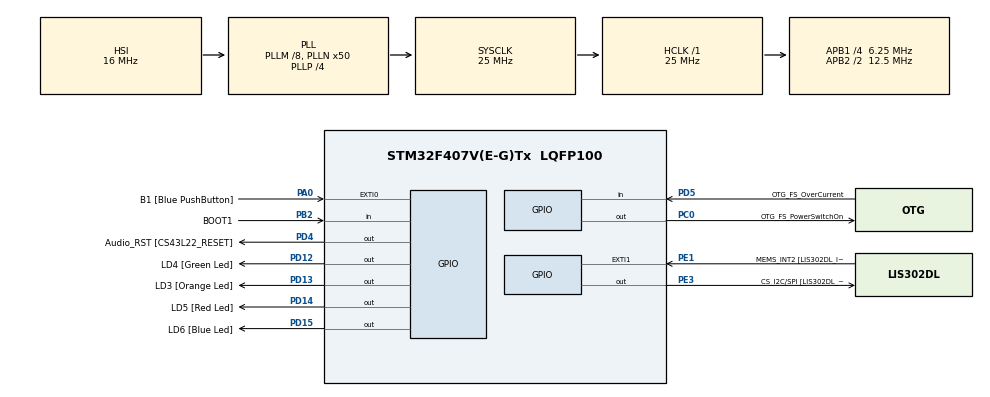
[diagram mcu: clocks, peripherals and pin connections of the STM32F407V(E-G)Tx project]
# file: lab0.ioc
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Mcu.Family=STM32F4
Mcu.Name=STM32F407V(E-G)Tx
Mcu.Package=LQFP100
NVIC.PriorityGroup=NVIC_PRIORITYGROUP_4
NVIC.TIM7_IRQn=true\:0\:0\:false\:false\:true\:false\:true\:true
NVIC.TimeBase=TIM7_IRQn
NVIC.TimeBaseIP=TIM7
PA0-WKUP.GPIO_Label=B1 [Blue PushButton]
PA0-WKUP.Signal=GPXTI0
PA10.GPIO_Label=OTG_FS_ID
PA10.GPIO_Mode=GPIO_MODE_AF_PP
PA10.GPIO_PuPd=GPIO_NOPULL
PA10.GPIO_Speed=GPIO_SPEED_FREQ_LOW
PA10.Signal=USB_OTG_FS_ID
PA11.GPIO_Label=OTG_FS_DM
PA11.GPIO_Mode=GPIO_MODE_AF_PP
PA11.GPIO_PuPd=GPIO_NOPULL
PA11.GPIO_Speed=GPIO_SPEED_FREQ_LOW
PA11.Signal=USB_OTG_FS_DM
PA12.GPIO_Label=OTG_FS_DP
PA12.GPIO_Mode=GPIO_MODE_AF_PP
PA12.GPIO_PuPd=GPIO_NOPULL
PA12.GPIO_Speed=GPIO_SPEED_FREQ_LOW
PA12.Signal=USB_OTG_FS_DP
PA13.GPIO_Label=SWDIO
PA13.Mode=Serial_Wire
PA13.Signal=SYS_JTMS-SWDIO
PA14.GPIO_Label=SWCLK
PA14.Mode=Serial_Wire
PA14.Signal=SYS_JTCK-SWCLK
PA4.GPIO_Label=I2S3_WS [CS43L22_LRCK]
PA4.GPIO_Mode=GPIO_MODE_AF_PP
PA4.GPIO_PuPd=GPIO_NOPULL
PA4.GPIO_Speed=GPIO_SPEED_FREQ_LOW
PA4.Signal=I2S3_WS
PA5.GPIO_Label=SPI1_SCK [LIS302DL_SCL/SPC]
PA5.GPIO_Mode=GPIO_MODE_AF_PP
PA5.GPIO_PuPd=GPIO_NOPULL
PA5.GPIO_Speed=GPIO_SPEED_FREQ_LOW
PA5.Signal=SPI1_SCK
PA6.GPIO_Label=SPI1_MISO [LIS302DL_SDO]
PA6.GPIO_Mode=GPIO_MODE_AF_PP
PA6.GPIO_PuPd=GPIO_NOPULL
PA6.GPIO_Speed=GPIO_SPEED_FREQ_LOW
PA6.Signal=SPI1_MISO
PA7.GPIO_Label=SPI1_MOSI [LIS302DL_SDA/SDI/SDO]
PA7.GPIO_Mode=GPIO_MODE_AF_PP
PA7.GPIO_PuPd=GPIO_NOPULL
PA7.GPIO_Speed=GPIO_SPEED_FREQ_LOW
PA7.Signal=SPI1_MOSI
PA9.GPIO_Label=VBUS_FS
PA9.GPIO_Mode=GPIO_MODE_INPUT
PA9.GPIO_PuPd=GPIO_NOPULL
PA9.Signal=USB_OTG_FS_VBUS
PB10.GPIO_Label=CLK_IN [MP45DT02_CLK]
PB10.GPIO_Mode=GPIO_MODE_AF_PP
PB10.GPIO_PuPd=GPIO_NOPULL
PB10.GPIO_Speed=GPIO_SPEED_FREQ_LOW
PB10.Signal=I2S2_CK
PB2.GPIO_Label=BOOT1
PB2.GPIO_Mode=GPIO_MODE_INPUT
PB2.GPIO_PuPd=GPIO_NOPULL
PB2.Signal=GPIO_Input
PB3.GPIO_Label=SWO
PB3.Signal=SYS_JTDO-SWO
PB6.GPIO_Label=Audio_SCL [CS43L22_SCL]
PB6.GPIO_Mode=GPIO_MODE_AF_OD
PB6.GPIO_PuPd=GPIO_NOPULL
PB6.GPIO_Speed=GPIO_SPEED_FREQ_LOW
PB6.Signal=I2C1_SCL
PB9.GPIO_Label=Audio_SDA [CS43L22_SDA]
PB9.GPIO_Mode=GPIO_MODE_AF_OD
PB9.GPIO_PuPd=GPIO_NOPULL
PB9.GPIO_Speed=GPIO_SPEED_FREQ_LOW
PB9.Signal=I2C1_SDA
PC0.GPIO_Label=OTG_FS_PowerSwitchOn
PC0.GPIO_PuPd=GPIO_NOPULL
PC0.GPIO_Speed=GPIO_SPEED_FREQ_LOW
PC0.PinState=GPIO_PIN_SET
PC0.Signal=GPIO_Output
PC10.GPIO_Label=I2S3_SCK [CS43L22_SCLK]
PC10.GPIO_Mode=GPIO_MODE_AF_PP
PC10.GPIO_PuPd=GPIO_NOPULL
PC10.GPIO_Speed=GPIO_SPEED_FREQ_LOW
PC10.Signal=I2S3_CK
PC12.GPIO_Label=I2S3_SD [CS43L22_SDIN]
PC12.GPIO_Mode=GPIO_MODE_AF_PP
PC12.GPIO_PuPd=GPIO_NOPULL
PC12.GPIO_Speed=GPIO_SPEED_FREQ_LOW
PC12.Signal=I2S3_SD
PC14-OSC32_IN.GPIO_Label=PC14-OSC32_IN
PC14-OSC32_IN.Signal=RCC_OSC32_IN
PC15-OSC32_OUT.GPIO_Label=PC15-OSC32_OUT
PC15-OSC32_OUT.Signal=RCC_OSC32_OUT
PC3.GPIO_Label=PDM_OUT [MP45DT02_DOUT]
PC3.GPIO_Mode=GPIO_MODE_AF_PP
PC3.GPIO_PuPd=GPIO_NOPULL
PC3.GPIO_Speed=GPIO_SPEED_FREQ_LOW
PC3.Signal=I2S2_SD
PC7.GPIO_Label=I2S3_MCK [CS43L22_MCLK]
PC7.GPIO_Mode=GPIO_MODE_AF_PP
PC7.GPIO_PuPd=GPIO_NOPULL
PC7.GPIO_Speed=GPIO_SPEED_FREQ_LOW
PC7.Signal=I2S3_MCK
PD12.GPIO_Label=LD4 [Green Led]
PD12.GPIO_PuPd=GPIO_NOPULL
PD12.GPIO_Speed=GPIO_SPEED_FREQ_LOW
PD12.Signal=GPIO_Output
PD13.GPIO_Label=LD3 [Orange Led]
PD13.GPIO_PuPd=GPIO_NOPULL
PD13.GPIO_Speed=GPIO_SPEED_FREQ_LOW
PD13.Signal=GPIO_Output
PD14.GPIO_Label=LD5 [Red Led]
PD14.GPIO_PuPd=GPIO_NOPULL
PD14.GPIO_Speed=GPIO_SPEED_FREQ_LOW
PD14.Signal=GPIO_Output
PD15.GPIO_Label=LD6 [Blue Led]
PD15.GPIO_PuPd=GPIO_NOPULL
PD15.GPIO_Speed=GPIO_SPEED_FREQ_LOW
PD15.Signal=GPIO_Output
PD4.GPIO_Label=Audio_RST [CS43L22_RESET]
PD4.GPIO_PuPd=GPIO_NOPULL
PD4.GPIO_Speed=GPIO_SPEED_FREQ_LOW
PD4.Signal=GPIO_Output
PD5.GPIO_Label=OTG_FS_OverCurrent
PD5.GPIO_Mode=GPIO_MODE_INPUT
PD5.GPIO_PuPd=GPIO_NOPULL
PD5.Signal=GPIO_Input
PE1.GPIO_Label=MEMS_INT2 [LIS302DL_INT2]
PE1.GPIO_ModeDefaultEXTI=GPIO_MODE_EVT_RISING
PE1.GPIO_PuPd=GPIO_NOPULL
PE1.Signal=GPXTI1
PE3.GPIO_Label=CS_I2C/SPI [LIS302DL_CS_I2C/SPI]
PE3.GPIO_PuPd=GPIO_NOPULL
PE3.GPIO_Speed=GPIO_SPEED_FREQ_LOW
PE3.Signal=GPIO_Output
PH0-OSC_IN.GPIO_Label=PH0-OSC_IN
PH0-OSC_IN.Signal=RCC_OSC_IN
PH1-OSC_OUT.GPIO_Label=PH1-OSC_OUT
PH1-OSC_OUT.Signal=RCC_OSC_OUT
ProjectManager.HeapSize=0x200
ProjectManager.StackSize=0x400
ProjectManager.TargetToolchain=STM32CubeIDE
RCC.48MHZClocksFreq_Value=14285714.285714285
RCC.AHBFreq_Value=25000000
RCC.APB1CLKDivider=RCC_HCLK_DIV4
RCC.APB1Freq_Value=6250000
RCC.APB1TimFreq_Value=12500000
RCC.APB2CLKDivider=RCC_HCLK_DIV2
RCC.APB2Freq_Value=12500000
RCC.APB2TimFreq_Value=25000000
RCC.CortexFreq_Value=25000000
RCC.HCLKFreq_Value=25000000
RCC.HSE_VALUE=8000000
RCC.HSI_VALUE=16000000
RCC.LSE_VALUE=32768
RCC.PLLM=8
RCC.PLLN=50
RCC.PLLP=RCC_PLLP_DIV4
RCC.PLLQ=7
RCC.SYSCLKFreq_VALUE=25000000
RCC.SYSCLKSource=RCC_SYSCLKSOURCE_PLLCLK
RCC.VCOOutputFreq_Value=100000000
VP_SYS_VS_tim7.Mode=TIM7
board=STM32F407G-DISC1

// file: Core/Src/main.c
/* USER CODE BEGIN Header */
/**
  ******************************************************************************
  * @file           : main.c
  * @brief          : Main program body
  ******************************************************************************
  * @attention
  *
  * Copyright (c) 2022 STMicroelectronics.
  * All rights reserved.
  *
  * This software is licensed under terms that can be found in the LICENSE file
  * in the root directory of this software component.
  * If no LICENSE file comes with this software, it is provided AS-IS.
  *
  ******************************************************************************
  */
/* USER CODE END Header */
#include "main.h"

/* USER CODE BEGIN Includes */
#include"FreeRTOS.h"
#include"task.h"

/* USER CODE END Includes */

void SystemClock_Config(void);
static void MX_GPIO_Init(void);

/* USER CODE BEGIN 0 */
BaseType_t xReturned;
TaskHandle_t xHandle=NULL;

void LED_Task( void ){
	HAL_GPIO_WritePin(GPIOD, GPIO_PIN_12 | GPIO_PIN_13 | GPIO_PIN_14 | GPIO_PIN_15, GPIO_PIN_RESET);
	for(;;){

		HAL_GPIO_WritePin(GPIOD, GPIO_PIN_12, GPIO_PIN_SET );
		vTaskDelay(75);
		HAL_GPIO_WritePin(GPIOD, GPIO_PIN_13, GPIO_PIN_SET );
		vTaskDelay(75);
		HAL_GPIO_WritePin(GPIOD, GPIO_PIN_14, GPIO_PIN_SET );
		vTaskDelay(75);
		HAL_GPIO_WritePin(GPIOD, GPIO_PIN_15, GPIO_PIN_SET );
		vTaskDelay(75);
		HAL_GPIO_WritePin(GPIOD, GPIO_PIN_12, GPIO_PIN_RESET );
		vTaskDelay(75);
		HAL_GPIO_WritePin(GPIOD, GPIO_PIN_13, GPIO_PIN_RESET );
		vTaskDelay(75);
		HAL_GPIO_WritePin(GPIOD, GPIO_PIN_14, GPIO_PIN_RESET );
		vTaskDelay(75);
		HAL_GPIO_WritePin(GPIOD, GPIO_PIN_15, GPIO_PIN_RESET );
		vTaskDelay(75);
	}
}

/* void LED_Task(void) {
    const int LEDS[] = {GPIO_PIN_12, GPIO_PIN_13, GPIO_PIN_14, GPIO_PIN_15};

    while (1) {
        for (int i = 0; i < 4; i++) {
            HAL_GPIO_WritePin(GPIOD, LEDS[i], GPIO_PIN_SET);
            vTaskDelay(200);
            HAL_GPIO_WritePin(GPIOD, LEDS[i], GPIO_PIN_RESET);

        }
    }
} */

/* USER CODE END 0 */

int main(void)
{

  /* MCU Configuration--------------------------------------------------------*/

  /* Reset of all peripherals, Initializes the Flash interface and the Systick. */
  HAL_Init();

  /* Configure the system clock */
  SystemClock_Config();

  /* Initialize all configured peripherals */
  MX_GPIO_Init();
  /* USER CODE BEGIN 2 */
  xTaskCreate(
		  LED_Task,
		  "NAME",
		  128,
		  NULL,
		  1,
		  &xHandle);

  vTaskStartScheduler();
  /* USER CODE END 2 */

  /* Infinite loop */
  while (1)
  {

  }
}

void SystemClock_Config(void)
{
  RCC_OscInitTypeDef RCC_OscInitStruct = {0};
  RCC_ClkInitTypeDef RCC_ClkInitStruct = {0};

  /** Configure the main internal regulator output voltage
  */
  __HAL_RCC_PWR_CLK_ENABLE();
  __HAL_PWR_VOLTAGESCALING_CONFIG(PWR_REGULATOR_VOLTAGE_SCALE1);
  /** Initializes the RCC Oscillators according to the specified parameters
  * in the RCC_OscInitTypeDef structure.
  */
  RCC_OscInitStruct.OscillatorType = RCC_OSCILLATORTYPE_HSI;
  RCC_OscInitStruct.HSIState = RCC_HSI_ON;
  RCC_OscInitStruct.HSICalibrationValue = RCC_HSICALIBRATION_DEFAULT;
  RCC_OscInitStruct.PLL.PLLState = RCC_PLL_ON;
  RCC_OscInitStruct.PLL.PLLSource = RCC_PLLSOURCE_HSI;
  RCC_OscInitStruct.PLL.PLLM = 8;
  RCC_OscInitStruct.PLL.PLLN = 50;
  RCC_OscInitStruct.PLL.PLLP = RCC_PLLP_DIV4;
  RCC_OscInitStruct.PLL.PLLQ = 7;
  if (HAL_RCC_OscConfig(&RCC_OscInitStruct) != HAL_OK)
  {
    Error_Handler();
  }
  /** Initializes the CPU, AHB and APB buses clocks
  */
  RCC_ClkInitStruct.ClockType = RCC_CLOCKTYPE_HCLK|RCC_CLOCKTYPE_SYSCLK
                              |RCC_CLOCKTYPE_PCLK1|RCC_CLOCKTYPE_PCLK2;
  RCC_ClkInitStruct.SYSCLKSource = RCC_SYSCLKSOURCE_PLLCLK;
  RCC_ClkInitStruct.AHBCLKDivider = RCC_SYSCLK_DIV1;
  RCC_ClkInitStruct.APB1CLKDivider = RCC_HCLK_DIV4;
  RCC_ClkInitStruct.APB2CLKDivider = RCC_HCLK_DIV2;

  if (HAL_RCC_ClockConfig(&RCC_ClkInitStruct, FLASH_LATENCY_0) != HAL_OK)
  {
    Error_Handler();
  }
}

static void MX_GPIO_Init(void)
{
  GPIO_InitTypeDef GPIO_InitStruct = {0};

  /* GPIO Ports Clock Enable */
  __HAL_RCC_GPIOE_CLK_ENABLE();
  __HAL_RCC_GPIOC_CLK_ENABLE();
  __HAL_RCC_GPIOH_CLK_ENABLE();
  __HAL_RCC_GPIOA_CLK_ENABLE();
  __HAL_RCC_GPIOB_CLK_ENABLE();
  __HAL_RCC_GPIOD_CLK_ENABLE();

  /*Configure GPIO pin Output Level */
  HAL_GPIO_WritePin(CS_I2C_SPI_GPIO_Port, CS_I2C_SPI_Pin, GPIO_PIN_RESET);

  /*Configure GPIO pin Output Level */
  HAL_GPIO_WritePin(OTG_FS_PowerSwitchOn_GPIO_Port, OTG_FS_PowerSwitchOn_Pin, GPIO_PIN_SET);

  /*Configure GPIO pin Output Level */
  HAL_GPIO_WritePin(GPIOD, LD4_Pin|LD3_Pin|LD5_Pin|LD6_Pin
                          |Audio_RST_Pin, GPIO_PIN_RESET);

  /*Configure GPIO pin : CS_I2C_SPI_Pin */
  GPIO_InitStruct.Pin = CS_I2C_SPI_Pin;
  GPIO_InitStruct.Mode = GPIO_MODE_OUTPUT_PP;
  GPIO_InitStruct.Pull = GPIO_NOPULL;
  GPIO_InitStruct.Speed = GPIO_SPEED_FREQ_LOW;
  HAL_GPIO_Init(CS_I2C_SPI_GPIO_Port, &GPIO_InitStruct);

  /*Configure GPIO pin : OTG_FS_PowerSwitchOn_Pin */
  GPIO_InitStruct.Pin = OTG_FS_PowerSwitchOn_Pin;
  GPIO_InitStruct.Mode = GPIO_MODE_OUTPUT_PP;
  GPIO_InitStruct.Pull = GPIO_NOPULL;
  GPIO_InitStruct.Speed = GPIO_SPEED_FREQ_LOW;
  HAL_GPIO_Init(OTG_FS_PowerSwitchOn_GPIO_Port, &GPIO_InitStruct);

  /*Configure GPIO pin : PDM_OUT_Pin */
  GPIO_InitStruct.Pin = PDM_OUT_Pin;
  GPIO_InitStruct.Mode = GPIO_MODE_AF_PP;
  GPIO_InitStruct.Pull = GPIO_NOPULL;
  GPIO_InitStruct.Speed = GPIO_SPEED_FREQ_LOW;
  GPIO_InitStruct.Alternate = GPIO_AF5_SPI2;
  HAL_GPIO_Init(PDM_OUT_GPIO_Port, &GPIO_InitStruct);

  /*Configure GPIO pin : B1_Pin */
  GPIO_InitStruct.Pin = B1_Pin;
  GPIO_InitStruct.Mode = GPIO_MODE_IT_RISING;
  GPIO_InitStruct.Pull = GPIO_NOPULL;
  HAL_GPIO_Init(B1_GPIO_Port, &GPIO_InitStruct);

  /*Configure GPIO pin : I2S3_WS_Pin */
  GPIO_InitStruct.Pin = I2S3_WS_Pin;
  GPIO_InitStruct.Mode = GPIO_MODE_AF_PP;
  GPIO_InitStruct.Pull = GPIO_NOPULL;
  GPIO_InitStruct.Speed = GPIO_SPEED_FREQ_LOW;
  GPIO_InitStruct.Alternate = GPIO_AF6_SPI3;
  HAL_GPIO_Init(I2S3_WS_GPIO_Port, &GPIO_InitStruct);

  /*Configure GPIO pins : SPI1_SCK_Pin SPI1_MISO_Pin SPI1_MOSI_Pin */
  GPIO_InitStruct.Pin = SPI1_SCK_Pin|SPI1_MISO_Pin|SPI1_MOSI_Pin;
  GPIO_InitStruct.Mode = GPIO_MODE_AF_PP;
  GPIO_InitStruct.Pull = GPIO_NOPULL;
  GPIO_InitStruct.Speed = GPIO_SPEED_FREQ_LOW;
  GPIO_InitStruct.Alternate = GPIO_AF5_SPI1;
  HAL_GPIO_Init(GPIOA, &GPIO_InitStruct);

  /*Configure GPIO pin : BOOT1_Pin */
  GPIO_InitStruct.Pin = BOOT1_Pin;
  GPIO_InitStruct.Mode = GPIO_MODE_INPUT;
  GPIO_InitStruct.Pull = GPIO_NOPULL;
  HAL_GPIO_Init(BOOT1_GPIO_Port, &GPIO_InitStruct);

  /*Configure GPIO pin : CLK_IN_Pin */
  GPIO_InitStruct.Pin = CLK_IN_Pin;
  GPIO_InitStruct.Mode = GPIO_MODE_AF_PP;
  GPIO_InitStruct.Pull = GPIO_NOPULL;
  GPIO_InitStruct.Speed = GPIO_SPEED_FREQ_LOW;
  GPIO_InitStruct.Alternate = GPIO_AF5_SPI2;
  HAL_GPIO_Init(CLK_IN_GPIO_Port, &GPIO_InitStruct);

  /*Configure GPIO pins : LD4_Pin LD3_Pin LD5_Pin LD6_Pin
                           Audio_RST_Pin */
  GPIO_InitStruct.Pin = LD4_Pin|LD3_Pin|LD5_Pin|LD6_Pin
                          |Audio_RST_Pin;
  GPIO_InitStruct.Mode = GPIO_MODE_OUTPUT_PP;
  GPIO_InitStruct.Pull = GPIO_NOPULL;
  GPIO_InitStruct.Speed = GPIO_SPEED_FREQ_LOW;
  HAL_GPIO_Init(GPIOD, &GPIO_InitStruct);

  /*Configure GPIO pins : I2S3_MCK_Pin I2S3_SCK_Pin I2S3_SD_Pin */
  GPIO_InitStruct.Pin = I2S3_MCK_Pin|I2S3_SCK_Pin|I2S3_SD_Pin;
  GPIO_InitStruct.Mode = GPIO_MODE_AF_PP;
  GPIO_InitStruct.Pull = GPIO_NOPULL;
  GPIO_InitStruct.Speed = GPIO_SPEED_FREQ_LOW;
  GPIO_InitStruct.Alternate = GPIO_AF6_SPI3;
  HAL_GPIO_Init(GPIOC, &GPIO_InitStruct);

  /*Configure GPIO pin : VBUS_FS_Pin */
  GPIO_InitStruct.Pin = VBUS_FS_Pin;
  GPIO_InitStruct.Mode = GPIO_MODE_INPUT;
  GPIO_InitStruct.Pull = GPIO_NOPULL;
  HAL_GPIO_Init(VBUS_FS_GPIO_Port, &GPIO_InitStruct);

  /*Configure GPIO pins : OTG_FS_ID_Pin OTG_FS_DM_Pin OTG_FS_DP_Pin */
  GPIO_InitStruct.Pin = OTG_FS_ID_Pin|OTG_FS_DM_Pin|OTG_FS_DP_Pin;
  GPIO_InitStruct.Mode = GPIO_MODE_AF_PP;
  GPIO_InitStruct.Pull = GPIO_NOPULL;
  GPIO_InitStruct.Speed = GPIO_SPEED_FREQ_LOW;
  GPIO_InitStruct.Alternate = GPIO_AF10_OTG_FS;
  HAL_GPIO_Init(GPIOA, &GPIO_InitStruct);

  /*Configure GPIO pin : OTG_FS_OverCurrent_Pin */
  GPIO_InitStruct.Pin = OTG_FS_OverCurrent_Pin;
  GPIO_InitStruct.Mode = GPIO_MODE_INPUT;
  GPIO_InitStruct.Pull = GPIO_NOPULL;
  HAL_GPIO_Init(OTG_FS_OverCurrent_GPIO_Port, &GPIO_InitStruct);

  /*Configure GPIO pins : Audio_SCL_Pin Audio_SDA_Pin */
  GPIO_InitStruct.Pin = Audio_SCL_Pin|Audio_SDA_Pin;
  GPIO_InitStruct.Mode = GPIO_MODE_AF_OD;
  GPIO_InitStruct.Pull = GPIO_NOPULL;
  GPIO_InitStruct.Speed = GPIO_SPEED_FREQ_LOW;
  GPIO_InitStruct.Alternate = GPIO_AF4_I2C1;
  HAL_GPIO_Init(GPIOB, &GPIO_InitStruct);

  /*Configure GPIO pin : MEMS_INT2_Pin */
  GPIO_InitStruct.Pin = MEMS_INT2_Pin;
  GPIO_InitStruct.Mode = GPIO_MODE_EVT_RISING;
  GPIO_InitStruct.Pull = GPIO_NOPULL;
  HAL_GPIO_Init(MEMS_INT2_GPIO_Port, &GPIO_InitStruct);

}

void HAL_TIM_PeriodElapsedCallback(TIM_HandleTypeDef *htim)
{
  if (htim->Instance == TIM7) {
    HAL_IncTick();
  }
}

void Error_Handler(void)
{
  __disable_irq();
  while (1)
  {
  }
}
